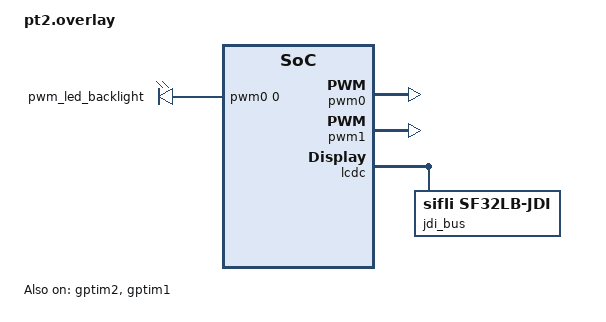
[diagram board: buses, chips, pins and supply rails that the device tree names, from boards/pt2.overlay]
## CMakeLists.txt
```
# copyright (c) 2026 Qingsong Gou <gouqs@hotmail.com>
# SPDX-License-Identifier: Apache-2.0

# Add out-off-tree drivers
# list(APPEND ZEPHYR_EXTRA_MODULES ${CMAKE_CURRENT_SOURCE_DIR}/drivers/hrs3300)
#list(APPEND ZEPHYR_EXTRA_MODULES ${CMAKE_CURRENT_SOURCE_DIR}/drivers/bma421)

cmake_minimum_required(VERSION 3.13.1)
find_package(Zephyr REQUIRED HINTS $ENV{ZEPHYR_BASE})
project(pinetime VERSION 0.1.1)

target_sources(app PRIVATE src/main.c)

include_directories(.)

execute_process(COMMAND git rev-parse --short HEAD
                WORKING_DIRECTORY ${CMAKE_CURRENT_SOURCE_DIR}
                OUTPUT_VARIABLE PROJECT_GIT_COMMIT_HASH
                RESULT_VARIABLE PROJECT_GIT_COMMIT_HASH_SUCCESS)

message("---------------------------------")
message("    * Version : " ${PROJECT_VERSION_MAJOR}.${PROJECT_VERSION_MINOR}.${PROJECT_VERSION_PATCH})
message("    * GitRef(S) :" ${PROJECT_GIT_COMMIT_HASH})
message("---------------------------------")
```

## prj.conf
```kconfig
CONFIG_HEAP_MEM_POOL_SIZE=1024
CONFIG_SYSTEM_WORKQUEUE_STACK_SIZE=2048
CONFIG_LOG=y

CONFIG_NEWLIB_LIBC=y

CONFIG_SENSOR=y

CONFIG_POLL=y

CONFIG_WATCHDOG=y
CONFIG_WDT_DISABLE_AT_BOOT=y
CONFIG_TASK_WDT=y
CONFIG_TASK_WDT_MIN_TIMEOUT=500
CONFIG_PWM=y
CONFIG_DISPLAY=y
```

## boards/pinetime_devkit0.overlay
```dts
/* SPDX-License-Identifier: Apache-2.0 */
/ {
        chosen {
		zephyr,settings-partition = &storage_partition;
        };

	aliases {
		vibe = &vibe;
		charger = &charger_pin;
	};

	charger {
		compatible = "gpio-keys";
		charger_pin: charger_pin_0 {
			gpios = <&gpio0 12 GPIO_ACTIVE_LOW>;
			label = "charger";
		};
	};

	vibes {
		compatible = "gpio-keys";
		vibe: vibe {
			gpios = <&gpio0 16 GPIO_ACTIVE_LOW>;
			label = "vibe";
		};
	};
};

&i2c0 {
	zephyr,concat-buf-size = <32>;
};

&adc {
	status = "okay";
};

&xt25fb32 {
        partitions {
                compatible = "fixed-partitions";
                #address-cells = <1>;
                #size-cells = <1>;

                /* rdb in last 1MB */
                rdb_partition: partition@300000 {
                        label = "rdb";
                        reg = <0x00300000 0x100000>;
                };
	};
};
```

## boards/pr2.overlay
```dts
/*
 * Copyright (c) 2026 Core Devices LLC
 * SPDX-License-Identifier: Apache-2.0
 */

/ {
	chosen {
		/* we are the bootloader */
		zephyr,code-partition = &boot;

		/* slots */
		pb,slot0 = &slot0;
		pb,slot1 = &slot1;
		pb,prf = &prf;

		/* buttons */
		pb,btn-back = &btn_back;
		pb,btn-up = &btn_up;
		pb,btn-center = &btn_center;
		pb,btn-down = &btn_down;

		/* charger */
		pb,charger = &npm1300_charger;

		/* watchdog */
		pb,wdt = &wdt;
	};
};

&mpi2 {
	flash@0 {
		partitions {
			/* define custom partition scheme */
			/delete-node/ code@10000;

			boot: partition@10000 {
				label = "boot";
				reg = <0x10000 DT_SIZE_K(64)>;
			};

			slot0: partition@20000 {
				label = "slot0";
				reg = <0x20000 DT_SIZE_K(3072)>;
			};

			slot1: partition@320000 {
				label = "slot1";
				reg = <0x320000 DT_SIZE_K(3072)>;
			};

			prf: partition@a20000 {
				label = "prf";
				reg = <0xa20000 DT_SIZE_K(576)>;
			};
		};
	};
};

&wdt {
	//sifli,reset-all;
};

/* disable unused peripherals that would be automatically enabled */

&i2c1 {
	status = "disabled";
};

&i2c2 {
	status = "disabled";
};

&npm1300_gpio {
	status = "disabled";
};
```

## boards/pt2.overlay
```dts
/*
 * Copyright (c) 2026 Qingsong Gou <gouqs@hotmail.com>
 * SPDX-License-Identifier: Apache-2.0
 */

#include <zephyr/dt-bindings/pwm/pwm.h>
#include <zephyr/dt-bindings/pinctrl/sf32lb52x-pinctrl.h>

/ {
	chosen {
		zephyr,display = &ls013b7dh03;
	};

	pwmleds {
		compatible = "pwm-leds";

		pwm_led_backlight: pwm_led_backlight {
			pwms = <&pwm0 0 PWM_MSEC(10) PWM_POLARITY_NORMAL>;
		};
	};

	aliases {
		pwm-led0 = &pwm_led_backlight;
	};
};

&pinctrl {
	jdi_default: jdi_default {
		group1 {
			pinmux = <PA02_LCDC1_JDI_B2>,
				 <PA03_LCDC1_JDI_B1>,
				 <PA04_LCDC1_JDI_G1>,
				 <PA05_LCDC1_JDI_R1>,
				 <PA06_LCDC1_JDI_HST>,
				 <PA07_LCDC1_JDI_ENB>,
				 <PA08_LCDC1_JDI_VST>,
				 <PA39_LCDC1_JDI_VCK>,
				 <PA40_LCDC1_JDI_XRST>,
				 <PA41_LCDC1_JDI_HCK>,
				 <PA42_LCDC1_JDI_R2>,
				 <PA43_LCDC1_JDI_G2>;
			input-enable;
			input-schmitt-enable;
		};
	};

	pwm0_default: pwm0_default {
		group1 {
			pinmux = <PA01_GPTIM2_CH1>;
		};
	};

	vcom_pwm_default: vcom_pwm_default {
		group1 {
			pinmux = <PA24_GPTIM1_CH1>, <PA25_GPTIM1_CH2>;
		};
	};
};

&gptim2 {
	status = "okay";
	sifli,prescaler = <23>;

	pwm0: pwm {
		status = "okay";
		pinctrl-0 = <&pwm0_default>;
		pinctrl-names = "default";
	};
};

&gptim1 {
	status = "okay";
	sifli,prescaler = <2399>;

	pwm1: pwm {
		status = "okay";
		pinctrl-0 = <&vcom_pwm_default>;
		pinctrl-names = "default";
	};
};

&gpioa_00_31 {
	status = "okay";
};

&lcdc {
	status = "okay";

	jdi_bus: jdi {
		compatible = "sifli,sf32lb-jdi";
		#address-cells = <1>;
		#size-cells = <0>;
		pinctrl-0 = <&jdi_default>;
		pinctrl-names = "default";

		ls013b7dh03: ls013b7dh03@0 {
			compatible = "jdi,parallel";
			reg = <0>;
			width = <200>;
			height = <228>;

			vlcd-gpios = <&gpioa_00_31 29 GPIO_ACTIVE_HIGH>;
			vddp-gpios = <&gpioa_00_31 28 GPIO_ACTIVE_HIGH>;
			power-seq-delay-ms = <11>;
			pwms = <&pwm1 0 PWM_HZ(60) PWM_POLARITY_NORMAL>,
			       <&pwm1 1 PWM_HZ(60) PWM_POLARITY_INVERTED>;
			clock-frequency = <746268>;
			bank-col-head = <2>;
			valid-columns = <200>;
			bank-col-tail = <6>;
			valid-rows = <228>;
			bank-row-tail = <6>;
			enb-start-col = <3>;
			enb-end-col = <99>;
		};
	};
};
```

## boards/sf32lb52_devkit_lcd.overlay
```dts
/**
 * copyright (c) 2026 Qingsong Gou <gouqs@hotmail.com>
 * SPDX-License-Identifier: Apache-2.0
 */

#include <zephyr/dt-bindings/pwm/pwm.h>

/ {
	chosen {
	};

};

&pinctrl {
	jdi_default: jdi_default {
		group1 {
			pinmux = <PA02_LCDC1_JDI_B2>,
				 <PA03_LCDC1_JDI_B1>,
				 <PA04_LCDC1_JDI_G1>,
				 <PA05_LCDC1_JDI_R1>,
				 <PA06_LCDC1_JDI_HST>,
				 <PA07_LCDC1_JDI_ENB>,
				 <PA08_LCDC1_JDI_VST>,
				 <PA39_LCDC1_JDI_VCK>,
				 <PA40_LCDC1_JDI_XRST>,
				 <PA41_LCDC1_JDI_HCK>,
				 <PA42_LCDC1_JDI_R2>,
				 <PA43_LCDC1_JDI_G2>;
			input-enable;
			input-schmitt-enable;
		};
	};
};

&atim_pwm {
	status = "okay";
};

&lcdc {
	status = "okay";

	jdi: jdi {
		compatible = "sifli,sf32lb-jdi";
		status = "okay";
		pinctrl-0 = <&jdi_default>;
		pinctrl-names = "default";
		interface-type = <1>; /* 0=Serial, 1=Parallel */
		clock-frequency = <2000000>;

		vcom: vcom {
			pwms = <&atim_pwm 0 PWM_MSEC(20) PWM_POLARITY_NORMAL>;
		};

		ls013b7dh03: ls013b7dh03 {
			compatible = "jdi,ls013b7dh03";
			width = <144>;
			height = <168>;
			/* vcom-gpios = <&gpioa 0 GPIO_ACTIVE_HIGH>; */
			/* disp-en-gpios = <&gpiob 0 GPIO_ACTIVE_HIGH>; */
			//serial-vcom-inversion;
		};
	};
};
```

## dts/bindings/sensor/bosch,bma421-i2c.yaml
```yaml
# Copyright (c) 2019, Linaro Limited
# SPDX-License-Identifier: Apache-2.0


description:  This is a representation of the BME280 Integrated environmental sensor

compatible: "bosch,bma4xx"

include: i2c-device.yaml

properties:
            int1-gpios:
                      type: phandle-array
                      required: false
```

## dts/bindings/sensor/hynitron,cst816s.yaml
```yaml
# SPDX-License-Identifier: Apache-2.0

description: This is a representation of the Hynitron,CST816S touchscreen sensor

compatible: "hynitron,cst816s"

include: i2c-device.yaml

properties:
            irq-gpios:
                      type: phandle-array
                      required: false
            rst-gpios:
                      type: phandle-array
                      required: false
```

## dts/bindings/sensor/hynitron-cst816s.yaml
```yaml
# SPDX-License-Identifier: Apache-2.0

description: This is a representation of the Hynitron,CST816S touchscreen sensor

compatible: "hynitron-cst816s"

include: i2c-device.yaml

properties:
            irq-gpios:
                      type: phandle-array
                      required: false
            rst-gpios:
                      type: phandle-array
                      required: false
```

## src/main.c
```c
/*
 * Copyright (c) 2026 Qingsong Gou <gouqs@hotmail.com>
 * SPDX-License-Identifier: Apache-2.0
 */

#include <zephyr/kernel.h>
#include <zephyr/sys/printk.h>

int main(void)
{
    printk("Hello Zephyr on PineTime!\n");

    while (1) {
        k_msleep(1000);
        printk("Main thread: KernelMain is running...\n");
    }

    return 0;
}
```

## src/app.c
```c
#include <lvgl.h>

#include "app.h"

#define APP_STACK_SIZE      1024
#define APP_PRIORITY        5

static struct app_context context;

int app_init(app_t *app, lv_obj_t * parent) {
    return app->spec->init(app, parent);
}

int app_update(app_t *app) {
    return app->spec->update(app);
}

int app_gesture(app_t *app, enum appGestures gesture) {
    return app->spec->gesture(app, gesture);
}

int app_close(app_t *app) {
    return app->spec->close(app);
}

static void run_app(app_t *app)
{
	if (app == pinetimecosapp.runningApp) {
		return;
	}
	pinetimecos.lvglstate = Sleep;
	lv_timer_pause(app_timer);
	if (pinetimecosapp.runningApp) {
		UNUSED_VARIABLE(app_close(pinetimecosapp.runningApp));
	}
	pinetimecosapp.runningApp = app;
	UNUSED_VARIABLE(app_init(pinetimecosapp.runningApp, main_scr));
	lv_timer_set_period(app_timer, pinetimecosapp.runningApp->spec->updateInterval);

	pinetimecos.lvglstate = Running;
	lv_timer_resume(app_timer);
}

static void return_app(enum apps app/*, enum appGestures gesture, enum RefreshDirections dir*/)
{
	pinetimecosapp.returnApp = app;
	//pinetimecosapp.returnAnimation = dir;
	//pinetimecosapp.returnDir = gesture;
}

void load_application(enum apps app/*, enum RefreshDirections dir*/)
{
    //set_refresh_direction(dir);
    //pinetimecosapp.activeApp = app;
	switch (app) {
/*
	case Passkey:
		run_app(APP_PASSKEY);
		return_app(Clock, DirBottom, AnimNone);
		break;

	case Debug:
		run_app(APP_DEBUG);
		return_app(Menu, DirTop, AnimUp);
		break;

	case Clock:
		run_app(APP_CLOCK);
		return_app(Clock, DirNone, AnimNone);
		break;

	case Menu:
		run_app(APP_MENU);
		return_app(Clock, DirTop, AnimUp);
		break;

	case Notification:
		run_app(APP_NOTIFICATION);
		return_app(Clock, DirBottom, AnimDown);
		break;
*/
	default:
		break;
	}
}

void app_push_message(enum appMessages msg)
{

}

void app_thread(void* arg1, void *arg2, void *arg3)
{
	struct app_context *context = (struct app_context*)arg1;
	const struct device *display_dev = NULL;

	display_dev = device_get_binding(CONFIG_LVGL_DISPLAY_DEV_NAME);
	if (display_dev == NULL) {
		LOG_ERR("device %s not found", CONFIG_LVGL_DISPLAY_DEV_NAME);
		return;
	}

	display_blanking_off(display_dev);

	context->state = APP_RUNNING;

	while (1) {
		k_sleep(K_MSEC(500));
	}
}
K_THREAD_DEFINE(app, APP_STACK_SIZE, app_thread, &context, NULL, NULL, APP_PRIORITY, 0, 0);
```

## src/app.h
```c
#ifndef _APP_H
#define _APP_H

typedef struct _app app_t;

typedef struct app_spec {
	const char *name;
	uint32_t updateInterval;
	int (*init)(app_t *app, lv_obj_t * parent);
	int (*update)(app_t *app);
	int (*gesture)(app_t *app, enum appGestures gesture);
	int (*close)(app_t *app);
} app_spec_t;

struct _app {
	const app_spec_t *spec;
	bool dirty;
};

enum appMessages {
     UpdateBleConnection    = 0x01,
     UpdateBatteryLevel     = 0x02,
     Timeout                = 0x03,
     ButtonPushed           = 0x04,
     WakeUp                 = 0x05,
     Charging               = 0x06,
     Gesture                = 0x07,
     NewNotification        = 0x08,
     ShowPasskey            = 0x09,
};

enum apps {
	APP_HOME,
	APP_CLOCK,
	APP_DATE_SETTINGS_ID
};

enum app_state {
	APP_RUNNING,
	APP_SLEEP
};

struct app_context {
//     enum appGestures gestureDir;
//     enum RefreshDirections refreshDirection;
	enum app_state state;
     //app_t *runningApp;
	enum apps active_app;
	enum apps return_app;
     //enum appGestures returnDir;
     //enum RefreshDirections returnAnimation;
};

void app_push_message(enum appMessages msg);
void load_application(enum apps app/*, enum RefreshDirections dir*/);

#endif /* _APP_H */
```

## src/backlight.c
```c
#if 0
#include <stdbool.h>
#include <drivers/gpio.h>

#include "backlight.h"

static const struct device* backlight_dev;

#define BACKLIGHT_PORT  DT_GPIO_LABEL(DT_ALIAS(led1), gpios)

#define BACKLIGHT_1     DT_GPIO_PIN(DT_ALIAS(led0), gpios)
#define BACKLIGHT_2     DT_GPIO_PIN(DT_ALIAS(led1), gpios)
#define BACKLIGHT_3     DT_GPIO_PIN(DT_ALIAS(led2), gpios)

int backlight_init(const struct device *dev)
{
    backlight_dev = device_get_binding(BACKLIGHT_PORT);
    gpio_pin_configure(backlight_dev, BACKLIGHT_1, GPIO_OUTPUT);
    gpio_pin_configure(backlight_dev, BACKLIGHT_2, GPIO_OUTPUT);
    gpio_pin_configure(backlight_dev, BACKLIGHT_3, GPIO_OUTPUT);
    backlight_enable(true);

    return 0;
}

int backlight_enable(bool enable)
{
    gpio_pin_set_raw(backlight_dev, BACKLIGHT_1, enable ? 0 : 1);
    gpio_pin_set_raw(backlight_dev, BACKLIGHT_2, enable ? 0 : 1);
    gpio_pin_set_raw(backlight_dev, BACKLIGHT_3, enable ? 0 : 1);

    return 0;
}
#else
#include <drivers/led.h>

#include "backlight.h"

static const struct device* backlight_dev;

#if DT_NODE_HAS_STATUS(DT_INST(0, pwm_leds), okay)
#define LED_PWM_NODE_ID		DT_INST(0, pwm_leds)
#define LED_PWM_DEV_NAME	DEVICE_DT_NAME(LED_PWM_NODE_ID)
#else
#error "No LED PWM device found"
#endif

static int backlight_init(const struct device *dev)
{
    backlight_dev = device_get_binding(LED_PWM_DEV_NAME);

    led_set_brightness(backlight_dev, 0, 100);

    return 0;
}

int backlight_enable(bool enable)
{
    return 0;
}
#endif

SYS_INIT(backlight_init, APPLICATION, CONFIG_APPLICATION_INIT_PRIORITY);
```

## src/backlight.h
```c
#ifndef _BACKLIGHT_H
#define _BACKLIGHT_H

int backlight_enable(bool enable);

#endif /* _BACKLIGHT_H */
```

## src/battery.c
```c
#include <drivers/adc.h>
#include <logging/log.h>

#define CHANNEL_ID 7
#define RESOLUTION 12
#define DIVIDER 2
#define COUNT_DOWN 5000
#define BATTERY_PEROID_TIME 5

LOG_MODULE_REGISTER(BATTERY, LOG_LEVEL_INF);

static const struct device* percentage_dev;

static const struct adc_channel_cfg m_1st_channel_cfg = {
    .gain             = ADC_GAIN_1_4,
    .reference        = ADC_REF_INTERNAL,
    .acquisition_time = ADC_ACQ_TIME(ADC_ACQ_TIME_MICROSECONDS, 20),
    .channel_id       = CHANNEL_ID,
#if defined(CONFIG_ADC_CONFIGURABLE_INPUTS)
    .input_positive   = 8,
#endif
};

static struct k_timer timer;

static int battery_read_voltage(uint16_t *data, int data_len)
{
    int retval = 0;

    const struct adc_sequence sequence = {
        .channels    = BIT(CHANNEL_ID),
        .buffer      = data,
        .buffer_size = data_len,
        .resolution  = RESOLUTION,
    };
    retval = adc_read(percentage_dev, &sequence);

    return retval;
}

void battery_update_percentage(struct k_timer *timer)
{
    uint16_t data = 0;
    battery_read_voltage(&data, sizeof(data));
    LOG_INF("adc raw:0x%x", data);
    // send btn event
    // k_msg_put();
}

int batttery_init(const struct device *dev)
{
    int retval = 0;

    percentage_dev = device_get_binding("ADC_0");
    if (adc_channel_setup(percentage_dev, &m_1st_channel_cfg) < 0) {
        LOG_ERR("error setup adc channel");
    }
    k_timer_init(&timer, battery_update_percentage, NULL);
    k_timer_start(&timer, K_NO_WAIT, K_SECONDS(BATTERY_PEROID_TIME));

    return retval;
}
SYS_INIT(batttery_init, APPLICATION, CONFIG_APPLICATION_INIT_PRIORITY);
```

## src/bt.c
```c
#include <zephyr.h>
#include <drivers/gpio.h>

#include <logging/log.h>
#include <bluetooth/bluetooth.h>
#include <bluetooth/conn.h>

//#define LOG_LEVEL LOG_LEVEL_DBG
LOG_MODULE_REGISTER(BT_APP, LOG_LEVEL_INF);

static void connected(struct bt_conn *conn, uint8_t err);
static void disconnected(struct bt_conn *conn, uint8_t reason);
static bool le_param_req(struct bt_conn *conn, struct bt_le_conn_param *param);
static void le_param_updated(struct bt_conn *conn, uint16_t interval, uint16_t latency, uint16_t timeout);

static struct k_work advertise_work;

static const struct bt_data ad[] = {
    BT_DATA_BYTES(BT_DATA_FLAGS, (BT_LE_AD_GENERAL | BT_LE_AD_NO_BREDR)),
    /* Device information */
    BT_DATA_BYTES(BT_DATA_UUID16_ALL,
              0x0a, 0x18),
    /* Current time */
    BT_DATA_BYTES(BT_DATA_UUID16_ALL,
              0x05, 0x18),
#ifdef CONFIG_MCUMGR
    /* SMP */
    BT_DATA_BYTES(BT_DATA_UUID128_ALL,
              0x84, 0xaa, 0x60, 0x74, 0x52, 0x8a, 0x8b, 0x86,
              0xd3, 0x4c, 0xb7, 0x1d, 0x1d, 0xdc, 0x53, 0x8d),
#endif
};

BT_CONN_CB_DEFINE(conn_callbacks) = {
    .connected = connected,
    .disconnected = disconnected,
    .le_param_req = le_param_req,
    .le_param_updated = le_param_updated,
};

static void advertise(struct k_work *work)
{
    int rc;

    bt_le_adv_stop();

    rc = bt_le_adv_start(BT_LE_ADV_CONN_NAME, ad, ARRAY_SIZE(ad), NULL, 0);
    if (rc) {
        LOG_ERR("Advertising failed to start (rc %d)", rc);
        return;
    }

    LOG_INF("Advertising successfully started");
}

static void connected(struct bt_conn *conn, uint8_t err)
{
    if (err) {
        return;
    }
    LOG_INF("connected");
}

static void disconnected(struct bt_conn *conn, uint8_t reason)
{
    LOG_INF("disconnected (reason: %u)", reason);
}

static bool le_param_req(struct bt_conn *conn, struct bt_le_conn_param *param)
{
    return true;
}

static void le_param_updated(struct bt_conn *conn, uint16_t interval, uint16_t latency, uint16_t timeout)
{
}

static int bt_init(const struct device *dev)
{
    int err = bt_enable(NULL);
    if (err)
    {
        LOG_ERR("Bluetooth init failed (err %d)", err);
        return err;
    }

    k_work_init(&advertise_work, advertise);
    k_work_submit(&advertise_work);
    LOG_INF("Bluetooth initialized");

    return err;
}

SYS_INIT(bt_init, APPLICATION, CONFIG_APPLICATION_INIT_PRIORITY);
```

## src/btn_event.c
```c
#include <zephyr.h>
#include <drivers/gpio.h>


#define BTN_PORT    DT_GPIO_LABEL(DT_ALIAS(sw0), gpios)

#define KEY_IN      DT_GPIO_PIN(DT_ALIAS(sw0), gpios)
#define KEY_OUT     DT_GPIO_PIN(DT_ALIAS(sw1), gpios)

#define BTN_DEBOUNCE_TIME 200 /* 200 ms */

static struct k_timer timer_debounce;


// K_MSGQ_DEFINE(evt_msgq, sizeof(struct msg), 10, 4);

//static sys_slist_t evt_list;
static struct gpio_callback button_cb;

struct node {
    int (*func)(void *arg);
    //struct sys_slist_t evt_list;
};

void button_event_send(struct k_timer *timer)
{
    // send btn event
    // k_msg_put();
}

static void button_event_cb(const struct device *dev, struct gpio_callback *cb, uint32_t pins)
{
    k_timer_start(&timer_debounce, K_NO_WAIT, K_MSEC(BTN_DEBOUNCE_TIME));
}

int btn_event_init(const struct device *dev)
{
    int retval = 0;
    k_timer_init(&timer_debounce, button_event_send, NULL);

    const struct device *button_dev = device_get_binding(BTN_PORT);
    if (!button_dev) {
        return -ENODEV;
    }

    /* Set button out pin to high to enable the button */
    gpio_pin_configure(button_dev, KEY_OUT, GPIO_OUTPUT);
    gpio_pin_set_raw(button_dev, KEY_OUT, 1U);

    gpio_pin_configure(button_dev, KEY_IN, GPIO_INPUT | GPIO_INT_EDGE_FALLING/* | PULL_UP*/);

    gpio_init_callback(&button_cb, button_event_cb, BIT(KEY_IN));
    gpio_add_callback(button_dev, &button_cb);

    return retval;
}

SYS_INIT(btn_event_init, APPLICATION, CONFIG_KERNEL_INIT_PRIORITY_DEFAULT);
```

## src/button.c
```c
#include <zephyr.h>
#include <drivers/gpio.h>

#include "event.h"

#define BTN_PORT    DT_GPIO_LABEL(DT_ALIAS(sw0), gpios)

#define KEY_IN      DT_GPIO_PIN(DT_ALIAS(sw0), gpios)
#define KEY_OUT     DT_GPIO_PIN(DT_ALIAS(sw1), gpios)

#define BTN_DEBOUNCE_TIME 200 /* 200 ms */

static struct k_timer timer_debounce;


// K_MSGQ_DEFINE(evt_msgq, sizeof(struct msg), 10, 4);

//static sys_slist_t evt_list;
static struct gpio_callback button_cb;

struct node {
    int (*func)(void *arg);
    //struct sys_slist_t evt_list;
};

void button_event_send(struct k_timer *timer)
{
    const struct device *button_dev = k_timer_user_data_get(timer);

    int state = gpio_pin_get(button_dev, KEY_IN);

    event_trigger(state ? EVT_BUTTON_PRESSED : EVT_BUTTON_PRESSED);
}

static void button_event_cb(const struct device *dev, struct gpio_callback *cb, uint32_t pins)
{
    if (pins == KEY_IN) {
        k_timer_start(&timer_debounce, K_NO_WAIT, K_MSEC(BTN_DEBOUNCE_TIME));
    }
}

int button_init(const struct device *dev)
{
    int retval = 0;

    const struct device *button_dev = device_get_binding(BTN_PORT);
    if (!button_dev) {
        return -ENODEV;
    }

    k_timer_init(&timer_debounce, button_event_send, NULL);
    k_timer_user_data_set(&timer_debounce, (void *)button_dev);

    /* Set button out pin to high to enable the button */
    gpio_pin_configure(button_dev, KEY_OUT, GPIO_OUTPUT);
    gpio_pin_set_raw(button_dev, KEY_OUT, 1U);

    gpio_pin_configure(button_dev, KEY_IN, GPIO_INPUT | GPIO_INT_EDGE_BOTH/* | PULL_UP*/);

    gpio_init_callback(&button_cb, button_event_cb, BIT(KEY_IN));
    gpio_add_callback(button_dev, &button_cb);

    return retval;
}

SYS_INIT(button_init, APPLICATION, CONFIG_KERNEL_INIT_PRIORITY_DEFAULT);
```

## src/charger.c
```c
#include <zephyr.h>
#include <device.h>
#include <drivers/gpio.h>
#include <logging/log.h>

#define CHARGER_PIN     DT_GPIO_PIN(DT_ALIAS(charger), gpios)

LOG_MODULE_REGISTER(CHARGER, LOG_LEVEL_INF);

static const struct gpio_dt_spec charger = GPIO_DT_SPEC_GET_OR(DT_ALIAS(charger), gpios, {0});
static struct gpio_callback charger_cb;

static void battery_charging_isr(const struct device *dev, struct gpio_callback *cb, uint32_t pins)
{
    int val = gpio_pin_get(dev, CHARGER_PIN);
    LOG_INF("val = %d", val);
//	battery_update_charging_status(res != 1U);
}

int charger_init(const struct device *dev)
{
    int retval = 0;

    gpio_pin_configure_dt(&charger, GPIO_INPUT);

    gpio_pin_interrupt_configure_dt(&charger, GPIO_INT_EDGE_BOTH);

    gpio_init_callback(&charger_cb, battery_charging_isr, BIT(charger.pin));
    gpio_add_callback(charger.port, &charger_cb);

    return retval;
}

SYS_INIT(charger_init, APPLICATION, CONFIG_KERNEL_INIT_PRIORITY_DEFAULT);
```

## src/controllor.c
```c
/*
 * Copyright (c) 2012-2014 Wind River Systems, Inc.
 *
 * SPDX-License-Identifier: Apache-2.0
 */

#include <zephyr.h>
#include "view.h"

#define GUI_STACK_SIZE 1024
#define GUI_PRIORITY 5

struct gui_msg {
    uint32_t type;
    union {
        void *ptr;          /**< for MSG_TYPE_GUI */
        uint32_t event;     /**< for MSG_TYPE_EVENT */
        uint32_t gesture;   /**< for MSG_TYPE_GESTURE */
    };
};

struct gui gui_ctx {
    struct view *active_widget;
};

K_MSGQ_DEFINE(c_msgq, sizeof(struct msg), 10, 4);

void switch_ui(struct gui *ctx, struct widget *w)
{
    if (ctx->active_widget == w) {
        return;
    }
    if (gui->active_widget)
        view_close(w);

    view_draw(w);
    lv_scr_load(view_container(w));
//  lv_scr_load_anim(view_container(w), LV_SCR_LOAD_ANIM_MOVE_LEFT, 1000, 0, NULL);
// lv_disp_set_direction
    ctx->active_widget = w;
}

void gui_handler(struct gui *ctx, struct msg *m)
{
    struct gui_msg *gm = (struct gui_msg *)m->ptr;
    switch (gm->id) {
    case MSG_ID_GUI_SWITCH :
    case MSG_ID_GUI_SWITCH_UP :
        switch_ui(ctx, gm->data);
        break;
    default:
        break;
    }
}

int evt_handler(struct gui *ctx, uint32_t evt)
{
    struct widget *w = ctx->active_widget;
    if (w == NULL)
        return;

    if ( (w->flags & WF_ACTIVE) && (w->event) && event ) {
        w->event(w, evt);
    }
    if ( (w->flags & WF_VISIBLE) && (w->flags & WF_DIRTY) ) {
        if (v->update_draw) {
            w->update_draw(w);//redraw later
            w->flags &= ~WF_DIRTY;
        }
        return 1;
    }
    return 0;
}

ctrl_handler()
{

}

void gesure_handler(struct gui *ctx, uint32_t gesture)
{
    struct widget *w = ctx->active_widget;
    if (w && w->gui_event)
        w->gui_event(w, gesture);
}

void gui_thread(void* arg1, void *arg2, void *arg3)
{
    struct gui_msg m;
    struct gui *ctx;

    while (1)
    {
        k_msgq_get(&c_msgq, &m, K_MSEC(10)/* K_FOREVER */); //used timeout to refresh UI
        if (m.type == MSG_TYPE_GUI) {
            gui_handler(ctx, &m);
        } else if (m.type == MSG_TYPE_EVT) {
            evt_handler(ctx, m.event);
        } else if(m.type == MSG_TYPE_GESTURE) {
            gesture_handler(ctx, m.gesture);
        }

        // view_update_draw(ctx->active_widget);
    }
}

K_THREAD_DEFINE(gui_tid, GUI_STACK_SIZE, gui_thread, NULL, NULL, NULL, GUI_PRIORTY, 0, 0);
```

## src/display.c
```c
/*
 * Copyright (c) 2012-2014 Wind River Systems, Inc.
 *
 * SPDX-License-Identifier: Apache-2.0
 */

#include <zephyr.h>
#include "view.h"

#include "backlight.h"

#define GUI_STACK_SIZE 1024
#define GUI_PRIORITY 5



struct gui gui_ctx {
    struct view *active_widget;
};

K_MSGQ_DEFINE(gui_msgq, sizeof(struct msg), 10, 4);

int msg_send_event(struct msg *m, uint32_t event)
{
    m->type = MSG_TYPE_EVT;
    m->event = event;
    return k_msgq_put(&gui_msgq, m, K_NO_WAIT);
}

int msg_send_data(struct msg *m, uint32_t type, void *data)
{
    m->type = type;
    m->data = data;
    return k_msgq_put(&gui_msgq, m, K_NO_WAIT);
}

int msg_send_gesture(struct msg *m, uint32_t gesture)
{
    m->type = MSG_TYPE_GESTURE;
    m->gesture = gesture;
    return k_msgq_put(&gui_msgq, m, K_NO_WAIT);
}

void widget_active(struct gui *ctx, struct widget *w)
{
    if (ctx->active_widget == w) {
        return;
    }
    if (gui->active_widget)
        view_close(w);

    view_draw(w);
    lv_scr_load(view_container(w));
//  lv_scr_load_anim(view_container(w), LV_SCR_LOAD_ANIM_MOVE_LEFT, 1000, 0, NULL);
// lv_disp_set_direction
    ctx->active_widget = w;
}

void gui_handler(struct gui *ctx, struct msg *m)
{
    struct gui_msg *gm = (struct gui_msg *)m->ptr;
    switch (gm->id) {
    case MSG_ID_GUI_SWITCH :
    case MSG_ID_GUI_SWITCH_UP :
        widget_active(ctx, gm->data);
        break;
    default:
        break;
    }
}

int evt_handler(struct gui *ctx, uint32_t evt)
{
    struct widget *w = ctx->active_widget;
    if (w == NULL)
        return;

    if ( (w->flags & WF_ACTIVE) && (w->event) && event ) {
        w->event(w, evt);
    }
    if ( (w->flags & WF_VISIBLE) && (w->flags & WF_DIRTY) ) {
        if (v->redraw) {
            w->redraw(w);//redraw later
            w->flags &= ~WF_DIRTY;
        }
        return 1;
    }
    return 0;
}

void gesure_handler(struct gui *ctx, uint32_t gesture)
{
    struct widget *w = ctx->active_widget;
    if (w && w->gui_event)
        w->gui_event(w, gesture);
}

void display_thread(void* arg1, void *arg2, void *arg3)
{
    struct msg m;
    struct gui *ctx;

    while (1)
    {
        k_msgq_get(&gui_msgq, &m, K_MSEC(10)/* K_FOREVER */); //used timeout to refresh UI
        if (m.type == MSG_TYPE_GUI) {
            gui_handler(ctx, &m);
        } else if (m.type == MSG_TYPE_EVT) {
            evt_handler(ctx, m.event);
        } else if(m.type == MSG_TYPE_GESTURE) {
            gesture_handler(ctx, m.gesture);
        }

        // view_update_draw(ctx->active_widget);
    }
}

K_THREAD_DEFINE(gui_tid, GUI_STACK_SIZE, display_thread, NULL, NULL, NULL, GUI_PRIORTY, 0, 0);
```

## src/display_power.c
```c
/*
 * Copyright (c) 2021 gouqs@hotmail.com
 *
 * SPDX-License-Identifier: Apache-2.0
 */

#include <zephyr.h>
#include <drivers/gpio.h>
#include <drivers/display.h>
#include <display.h>
#include "display.h"
#include "log.h"


static const struct device *display_dev;


void display_power_init(void)
{
    display_dev = device_get_binding(CONFIG_LVGL_DISPLAY_DEV_NAME);
    display_blanking_off(display_dev);
}

void display_power_sleep(void)
{
    (void)device_set_power_state(display_dev, DEVICE_PM_LOW_POWER_STATE, NULL, NULL);
}

void display_power_wakeup(void)
{
    (void)device_set_power_state(display_dev, DEVICE_PM_ACTIVE_STATE, NULL, NULL);
}
```
